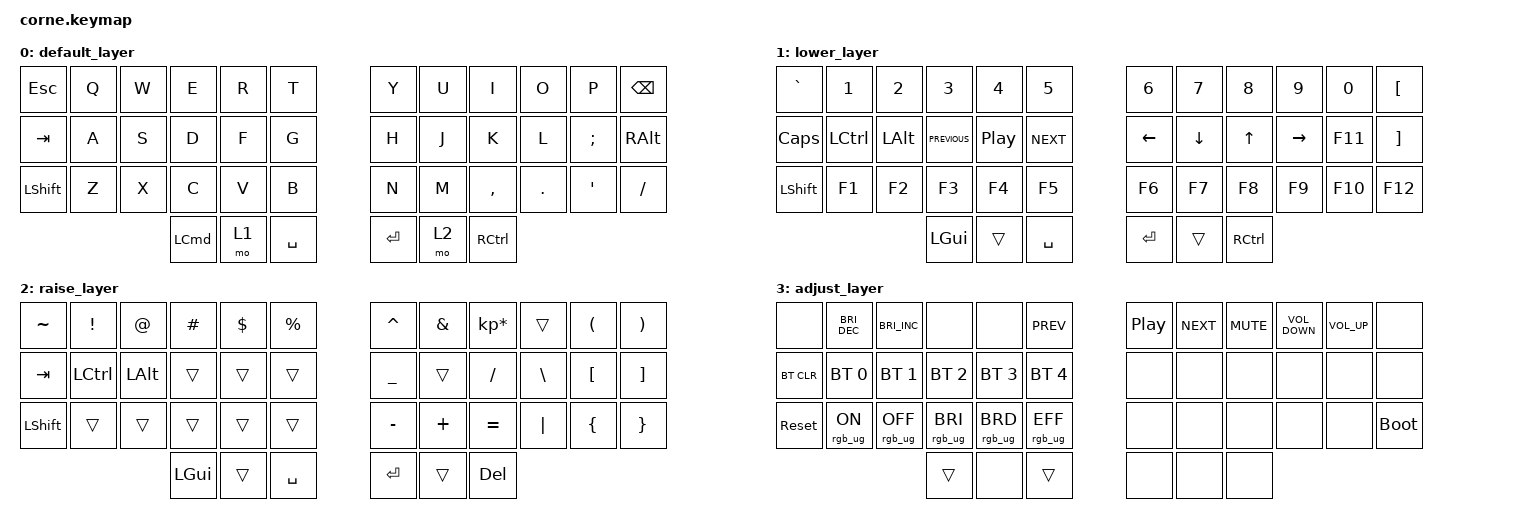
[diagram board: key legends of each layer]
/*
 * Copyright (c) 2020 The ZMK Contributors
 *
 * SPDX-License-Identifier: MIT
 */

#include <dt-bindings/led/led.h>
#include <behaviors.dtsi>
#include <dt-bindings/zmk/bt.h>
#include <dt-bindings/zmk/keys.h>
#include <dt-bindings/zmk/rgb.h>

&led_strip { chain-length = <27>; };

/ {
    keymap {
        compatible = "zmk,keymap";

        default_layer {
            // -----------------------------------------------------------------------------------------
            // |  TAB |  Q  |  W  |  E  |  R  |  T  |   |  Y  |  U   |  I  |  O  |  P  | BKSP |
            // | CTRL |  A  |  S  |  D  |  F  |  G  |   |  H  |  J   |  K  |  L  |  ;  |  '   |
            // | SHFT |  Z  |  X  |  C  |  V  |  B  |   |  N  |  M   |  ,  |  .  |  /  | ESC  |
            //                    | GUI | LWR | SPC |   | ENT | RSE  | ALT |

            bindings = <
&kp ESC         &kp Q  &kp W  &kp E             &kp R  &kp T        &kp Y    &kp U  &kp I      &kp O    &kp P     &kp BACKSPACE
&kp TAB         &kp A  &kp S  &kp D             &kp F  &kp G        &kp H    &kp J  &kp K      &kp L    &kp SEMI  &kp RIGHT_ALT
&kp LEFT_SHIFT  &kp Z  &kp X  &kp C             &kp V  &kp B        &kp N    &kp M  &kp COMMA  &kp DOT  &kp SQT   &kp SLASH
                              &kp LEFT_COMMAND  &mo 1  &kp SPACE    &kp RET  &mo 2  &kp RCTRL
            >;
        };

        lower_layer {
            // -----------------------------------------------------------------------------------------
            // |  TAB |  1  |  2  |  3  |  4  |  5  |   |  6  |  7  |  8  |  9  |  0  | BKSP |
            // | CAPS |BTCLR| BT1 | BT2 | BT3 |  BT4|   | LFT | DWN |  UP | RGT | BT5 |  F12 |
            // | SHFT |     |     |     |     |     |   |     |     |     |     |     |      |
            //                    | GUI |     | SPC |   | ENT |     | ALT |

            bindings = <
&kp GRAVE       &kp N1     &kp N2        &kp N3          &kp N4            &kp N5        &kp N6    &kp N7    &kp N8     &kp N9     &kp N0   &kp LEFT_BRACKET
&kp CAPSLOCK    &kp LCTRL  &kp LEFT_ALT  &kp C_PREVIOUS  &kp C_PLAY_PAUSE  &kp C_NEXT    &kp LEFT  &kp DOWN  &kp UP     &kp RIGHT  &kp F11  &kp RIGHT_BRACKET
&kp LEFT_SHIFT  &kp F1     &kp F2        &kp F3          &kp F4            &kp F5        &kp F6    &kp F7    &kp F8     &kp F9     &kp F10  &kp F12
                                         &kp LGUI        &trans            &kp SPACE     &kp RET   &trans    &kp RCTRL
            >;
        };

        raise_layer {
            // -----------------------------------------------------------------------------------------
            // |  TAB |  !  |  @  |  #  |  $  |  %  |   |  ^  |  &  |  *  |  (  |  )  | BKSP |
            // | CTRL |     |     |     |     |     |   |  -  |  =  |  [  |  ]  |  \  |  `   |
            // | SHFT |     |     |     |     |     |   |  _  |  +  |  {  |  }  | "|" |  ~   |
            //                    | GUI |     | SPC |   | ENT |     | ALT |

            bindings = <
&kp TILDE  &kp EXCL   &kp AT        &kp HASH  &kp DLLR  &kp PRCNT    &kp CARET       &kp AMPS  &kp KP_MULTIPLY  &trans         &kp LEFT_PARENTHESIS  &kp RIGHT_PARENTHESIS
&kp TAB    &kp LCTRL  &kp LEFT_ALT  &trans    &trans    &trans       &kp UNDERSCORE  &trans    &kp SLASH        &kp BACKSLASH  &kp LEFT_BRACKET      &kp RIGHT_BRACKET
&kp LSHFT  &trans     &trans        &trans    &trans    &trans       &kp MINUS       &kp PLUS  &kp EQUAL        &kp PIPE       &kp LEFT_BRACE        &kp RIGHT_BRACE
                                    &kp LGUI  &trans    &kp SPACE    &kp RET         &trans    &kp DELETE
            >;
        };

        adjust_layer {
            bindings = <
&none       &kp C_BRI_DEC   &kp C_BRI_INC    &none            &none            &kp C_PREV         &kp C_PLAY_PAUSE  &kp C_NEXT  &kp K_MUTE  &kp C_VOLUME_DOWN  &kp C_VOLUME_UP  &none
&bt BT_CLR  &bt BT_SEL 0    &bt BT_SEL 1     &bt BT_SEL 2     &bt BT_SEL 3     &bt BT_SEL 4       &none             &none       &none       &none              &none            &none
&sys_reset  &rgb_ug RGB_ON  &rgb_ug RGB_OFF  &rgb_ug RGB_BRI  &rgb_ug RGB_BRD  &rgb_ug RGB_EFF    &none             &none       &none       &none              &none            &bootloader
                                             &trans           &none            &trans             &none             &none       &none
            >;
        };
    };

    conditional_layers {
        compatible = "zmk,conditional-layers";

        bluetooth_layer {
            if-layers = <1 2>;
            then-layer = <3>;
        };
    };
};
